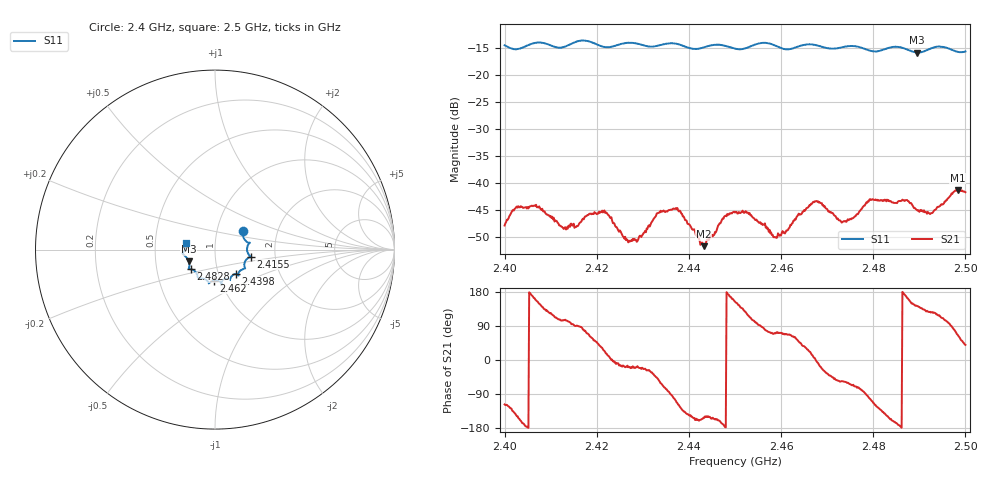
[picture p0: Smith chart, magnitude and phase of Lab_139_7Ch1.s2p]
# Hz S RI R 50
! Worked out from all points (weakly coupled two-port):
!   601 points, 2.4 GHz to 2.5 GHz, reference 50 ohm
!   highest |S21| = -41.27 dB at 2.4983 GHz (marker M1); lowest = -51.7 dB at 2.4432 GHz (marker M2)
!   lowest |S11| = -15.9 dB at 2.4895 GHz (marker M3), VSWR 1.38, Z = 37 - j5.02 ohm
!   |S11| at or under -10 dB: start of sweep to end of sweep
!   S12 and S22 are empty: the file has one direction only
!   S11 on the Smith chart (normalised r, x): 2.4 GHz: 1.33, +0.29; 2.4155 GHz: 1.49, -0.12; 2.4398 GHz: 1.21, -0.34; 2.462 GHz: 0.93, -0.33; 2.4828 GHz: 0.74, -0.17; 2.5 GHz: 0.72, +0.06
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2.4e9  0.155 0.1054  -0.00184 -0.0036  0 0  0 0
2.402167e9  0.1575 0.0705  -0.0044 -0.00375  0 0  0 0
2.406333e9  0.1926 0.0377  -0.00592 0.00173  0 0  0 0
2.4155e9  0.1983 -0.0394  1.11e-06 0.00392  0 0  0 0
2.416667e9  0.2031 -0.0427  0.000232 0.00441  0 0  0 0
2.421667e9  0.1703 -0.0607  0.00509 0.00226  0 0  0 0
2.427167e9  0.1684 -0.1043  0.00272 -0.000932  0 0  0 0
2.433333e9  0.1297 -0.134  0.00333 -0.00409  0 0  0 0
2.437167e9  0.131 -0.1433  -0.00179 -0.00557  0 0  0 0
2.439833e9  0.115 -0.1359  -0.00333 -0.0025  0 0  0 0
2.443167e9  0.0875 -0.1561  -0.0023 -0.00121  0 0  0 0
2.45e9  0.0654 -0.162  -0.00479 0.00234  0 0  0 0
2.458667e9  0.0332 -0.1839  0.00102 0.003  0 0  0 0
2.462e9  -0.00567 -0.1731  0.00168 0.00373  0 0  0 0
2.466667e9  -0.0349 -0.1879  0.00623 0.00153  0 0  0 0
2.473667e9  -0.0863 -0.1597  0.00239 -0.00375  0 0  0 0
2.482833e9  -0.1361 -0.1091  -0.00562 -0.00378  0 0  0 0
2.483333e9  -0.1401 -0.1089  -0.00611 -0.00329  0 0  0 0
2.4895e9  -0.1462 -0.0662  -0.00446 0.00341  0 0  0 0
2.492667e9  -0.1741 -0.0292  -0.0031 0.00426  0 0  0 0
2.498333e9  -0.1627 0.0103  0.00347 0.00791  0 0  0 0
2.5e9  -0.1598 0.0394  0.00631 0.00527  0 0  0 0
